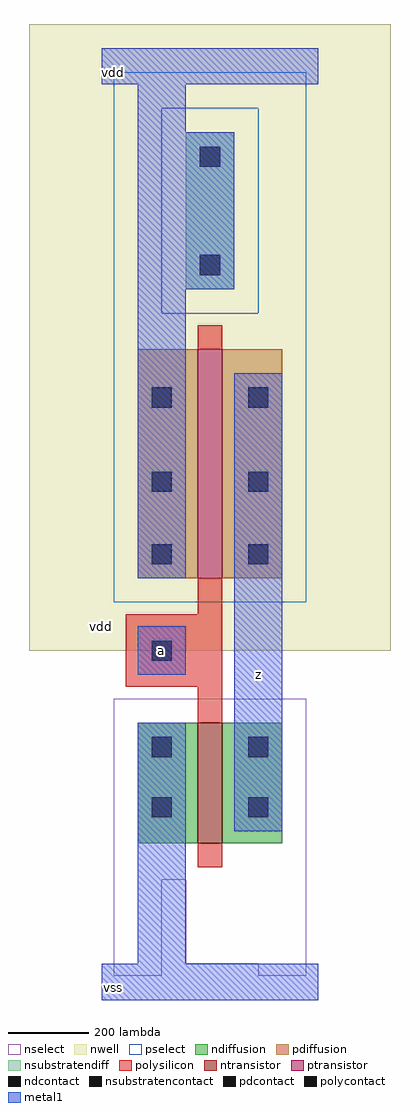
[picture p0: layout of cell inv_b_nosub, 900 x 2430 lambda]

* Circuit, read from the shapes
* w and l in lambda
.subckt inv_b_nosub z a vdd vss
M1 z a vss VSUBS nfet w=300 l=60
M2 z a vdd vdd pfet w=570 l=60
.ends

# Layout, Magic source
magic
tech amic5n
<< nwell >>
rect -30 870 870 2430
<< nselect >>
rect 300 1710 540 2220
rect 180 300 660 750
rect 180 60 300 300
rect 360 90 660 300
rect 540 60 660 90
<< pselect >>
rect 180 2220 660 2310
rect 180 1710 300 2220
rect 540 1710 660 2220
rect 180 990 660 1710
<< ntransistor >>
rect 390 390 450 690
<< ptransistor >>
rect 390 1050 450 1620
<< ndiffusion >>
rect 240 390 390 690
rect 450 390 600 690
<< pdiffusion >>
rect 240 1050 390 1620
rect 450 1050 600 1620
<< nsubstratendiff >>
rect 360 1770 480 2160
<< polysilicon >>
rect 390 1620 450 1680
rect 390 960 450 1050
rect 210 780 450 960
rect 390 690 450 780
rect 390 330 450 390
<< nsubstratencontact >>
rect 395 2075 445 2125
<< nsubstratencontact >>
rect 395 1805 445 1855
<< pdcontact >>
rect 275 1475 325 1525
<< pdcontact >>
rect 515 1475 565 1525
<< pdcontact >>
rect 275 1265 325 1315
<< pdcontact >>
rect 515 1265 565 1315
<< pdcontact >>
rect 275 1085 325 1135
<< pdcontact >>
rect 515 1085 565 1135
<< polycontact >>
rect 275 845 325 895
<< ndcontact >>
rect 275 605 325 655
<< ndcontact >>
rect 515 605 565 655
<< ndcontact >>
rect 275 455 325 505
<< ndcontact >>
rect 515 455 565 505
<< metal1 >>
rect 150 2280 690 2370
rect 240 2160 360 2280
rect 240 1770 480 2160
rect 240 1050 360 1770
rect 240 810 360 930
rect 240 90 360 690
rect 480 420 600 1560
rect 150 0 690 90
<< labels >>
flabel nwell  150 930 150 930 2 FreeSans 400 0 0 0 vdd
flabel metal1 s 180 30 180 30 2 FreeSans 400 0 0 0 vss
port 4 ne
flabel metal1 s 180 2310 180 2310 2 FreeSans 400 0 0 0 vdd
port 3 ne
flabel metal1 s 540 810 540 810 2 FreeSans 400 0 0 0 z
port 1 ne
flabel metal1 s 300 870 300 870 2 FreeSans 400 0 0 0 a
port 2 ne
<< end >>
